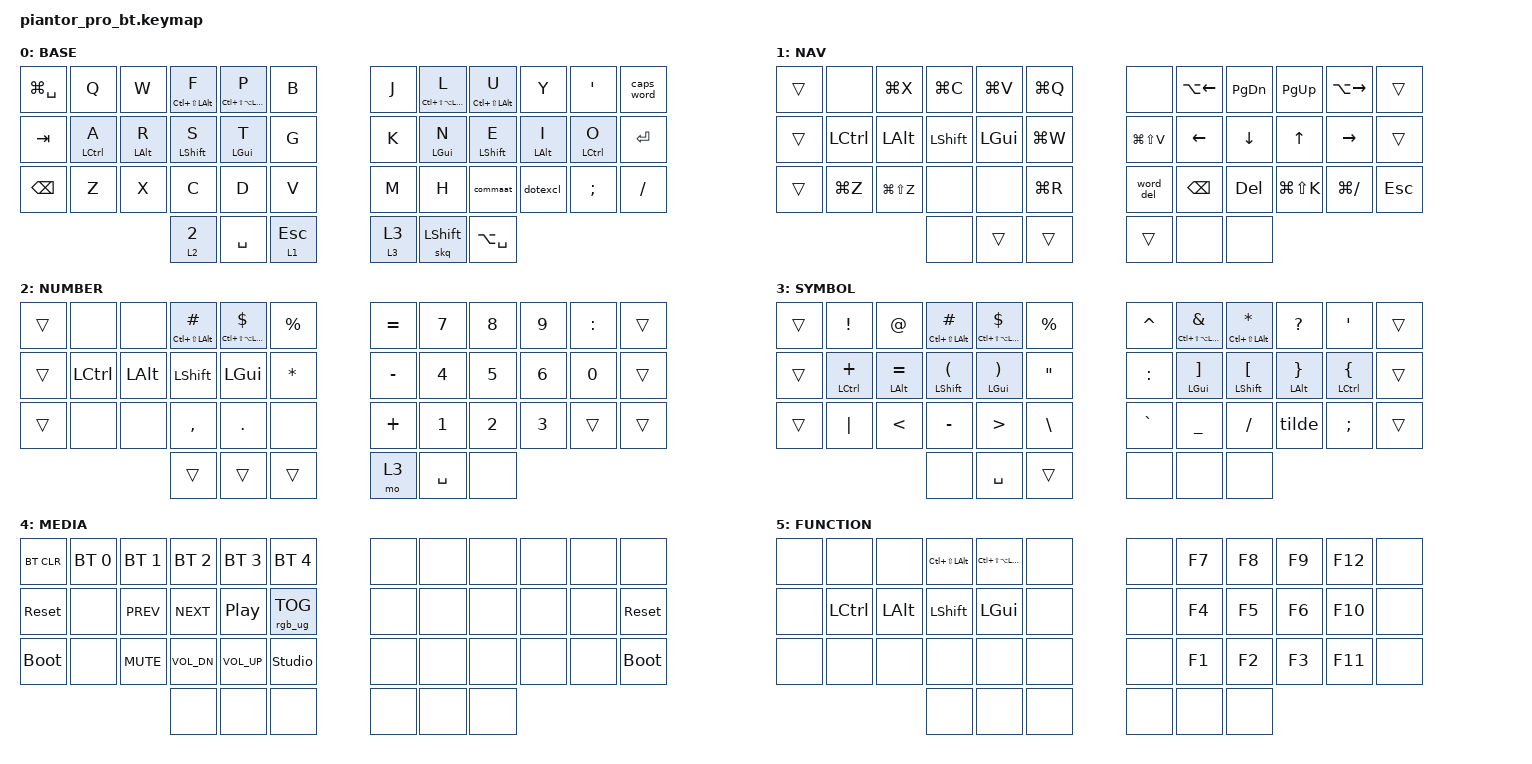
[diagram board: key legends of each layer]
/*
 * Copyright (c) 2020 The ZMK Contributors
 *
 * SPDX-License-Identifier: MIT
 */

#include <behaviors.dtsi>
#include <behaviors/num_word.dtsi>
#include <dt-bindings/zmk/bt.h>
#include <dt-bindings/zmk/keys.h>
#include <dt-bindings/zmk/rgb.h>
#include "zmk-helpers/key-labels/42.h"

#define KEYS_L LT0 LT1 LT2 LT3 LT4 LT5 LM0 LM1 LM2 LM3 LM4 LM5 LB0 LB1 LB2 LB3 LB4 LB5
#define KEYS_R RT0 RT1 RT2 RT3 RT4 RT5 RM0 RM1 RM2 RM3 RM4 RM5 RB0 RB1 RB2 RB3 RB4 RB5
#define THUMBS LH2 LH1 LH0 RH0 RH1 RH2

#define HYPER LC(LS(LA(LGUI)))
#define MEH   LC(LS(LALT))
#define HYP(k) LC(LS(LA(LG(k))))

// Keep num-word active while chording homerow mods on the number layer, and
// while typing the punctuation/math/symbols reachable on that layer. The
// module's default continue-list is replaced here, so its entries are carried
// forward. Shifted-number symbols ($ # % *) already survive via the module's
// ignore-numbers (their HID usage is a digit key); COLON was the one exiting
// early, since its usage (semicolon) is not numeric.
&num_word {
    ignore-modifiers;
    continue-list = <BSPC DEL DOT COMMA PLUS MINUS ASTRK SLASH EQUAL COLON PRCNT DOLLAR HASH>;
};

/ {
    chosen { zmk,physical-layout = &default_layout; };

    macros {
        // Fire a chord exactly once, however long the key is held. A plain &kp
        // in a hold-tap's hold slot keeps the keycode down, so macOS key-repeat
        // re-triggers it -- which makes a toggle like Contexts flicker. A macro
        // taps and finishes, leaving nothing held to repeat.
        tap_once: tap_once_macro {
            compatible = "zmk,behavior-macro-one-param";
            #binding-cells = <1>;
            bindings = <&macro_param_1to1>, <&kp MACRO_PLACEHOLDER>;
        };

        // Type ~ with an explicit, self-releasing Shift. &kp TILDE carries the
        // shift as an *implicit* modifier, which ZMK tracks as a single global
        // that only clears when the tilde key is physically released. Rolling
        // an unshifted key (e.g. /) before that release folds the shift-drop
        // and the next keydown into one HID report, so the host applies the
        // stale shift and ~/ becomes ~?. Pressing and releasing Shift around a
        // brief GRAVE tap sends the release in its own report within ~10ms,
        // decoupled from how long the thumb stays down.
        tilde: tilde_macro {
            compatible = "zmk,behavior-macro";
            #binding-cells = <0>;
            wait-ms = <0>;
            tap-ms = <5>;
            bindings = <&macro_press &kp LSHFT>,
                       <&macro_tap &kp GRAVE>,
                       <&macro_release &kp LSHFT>;
        };
    };

    behaviors {
        hml: homerow_mods_left {
            compatible = "zmk,behavior-hold-tap";
            #binding-cells = <2>;
            flavor = "balanced";
            tapping-term-ms = <230>;
            quick-tap-ms = <175>;
            require-prior-idle-ms = <150>;
            bindings = <&kp>, <&kp>;

            hold-trigger-key-positions = <KEYS_R THUMBS>;
            hold-trigger-on-release;
        };

        hmr: homerow_mods_right {
            compatible = "zmk,behavior-hold-tap";
            #binding-cells = <2>;
            flavor = "balanced";
            tapping-term-ms = <230>;
            quick-tap-ms = <175>;
            require-prior-idle-ms = <150>;
            bindings = <&kp>, <&kp>;

            hold-trigger-key-positions = <KEYS_L THUMBS>;
            hold-trigger-on-release;
        };

        // Tap-preferred variants: rolls can never trigger the hold, only a
        // deliberate hold past the tapping term can. Used for ALT, where a
        // misfire types a special character (e.g. Option+S = ß), and CTRL.
        hml_tp: homerow_mods_left_tap_preferred {
            compatible = "zmk,behavior-hold-tap";
            #binding-cells = <2>;
            flavor = "tap-preferred";
            tapping-term-ms = <230>;
            quick-tap-ms = <175>;
            require-prior-idle-ms = <150>;
            bindings = <&kp>, <&kp>;

            hold-trigger-key-positions = <KEYS_R THUMBS>;
            hold-trigger-on-release;
        };

        hmr_tp: homerow_mods_right_tap_preferred {
            compatible = "zmk,behavior-hold-tap";
            #binding-cells = <2>;
            flavor = "tap-preferred";
            tapping-term-ms = <230>;
            quick-tap-ms = <175>;
            require-prior-idle-ms = <150>;
            bindings = <&kp>, <&kp>;

            hold-trigger-key-positions = <KEYS_L THUMBS>;
            hold-trigger-on-release;
        };

        smart_num: smart_number_layer {
            compatible = "zmk,behavior-hold-tap";
            #binding-cells = <2>;
            flavor = "hold-preferred";
            tapping-term-ms = <200>;
            bindings = <&mo>, <&num_word>;
        };

        mtt: mod_tap_tap_preferred {
            compatible = "zmk,behavior-hold-tap";
            #binding-cells = <2>;
            flavor = "tap-preferred";
            tapping-term-ms = <230>;
            quick-tap-ms = <175>;
            require-prior-idle-ms = <130>;
            bindings = <&kp>, <&kp>;
        };

        skq: sticky_key_quick_release {
            compatible = "zmk,behavior-sticky-key";
            #binding-cells = <1>;
            bindings = <&kp>;
            release-after-ms = <2000>;
            quick-release;
            ignore-modifiers;
        };

        sl_mo: sticky_layer_momentary_layer {
            compatible = "zmk,behavior-hold-tap";
            #binding-cells = <2>;
            flavor = "hold-preferred";
            tapping-term-ms = <200>;
            bindings = <&mo>, <&sl>;
        };

        nav_esc: nav_layer_escape {
            compatible = "zmk,behavior-hold-tap";
            #binding-cells = <2>;
            flavor = "balanced";
            tapping-term-ms = <200>;
            bindings = <&mo>, <&kp>;
        };

        nav_word: nav_word {
            compatible = "zmk,behavior-auto-layer";
            #binding-cells = <1>;
            continue-list = <LEFT DOWN UP RIGHT PG_UP PG_DN BSPC DEL LG(X) LG(C) LG(V) LG(R) LG(W) LG(Q) LG(Z) LG(LS(Z)) LG(LS(V)) LG(LS(K)) LG(SLASH)>;
            ignore-modifiers;
        };

        dotexcl: dot_shifted_exclamation {
            compatible = "zmk,behavior-mod-morph";
            #binding-cells = <0>;
            bindings = <&kp DOT>, <&kp EXCLAMATION>;

            mods = <MOD_LSFT>;
        };

        commaat: comma_shifted_at {
            compatible = "zmk,behavior-mod-morph";
            #binding-cells = <0>;
            bindings = <&kp COMMA>, <&kp AT_SIGN>;

            mods = <MOD_LSFT>;
        };

        word_del: word_delete_morph {
            compatible = "zmk,behavior-mod-morph";
            #binding-cells = <0>;
            bindings = <&kp LA(BSPC)>, <&kp LA(DEL)>;

            mods = <(MOD_LSFT|MOD_RSFT)>;
        };
    };

    conditional_layers {
        compatible = "zmk,conditional-layers";
        tri_layer {
            if-layers = <1 3>;
            then-layer = <4>;
        };

        // F-keys used to share the NUMBER layer with the digits, which is what
        // forced the hold-taps there: under the bilateral rule each side's
        // homerow mods exist to modify the *other* side, so a two-handed layer
        // needs mods on both hands. Splitting them off lets NUMBER keep plain
        // mods on the left and plain digits on the right. MEDIA was the obvious
        // host and the wrong one -- it carries sys_reset and bootloader twice
        // each, and is safe only because it is never visited.
        //
        // Entry is one-way, number thumb then symbol thumb, via &mo 3 on
        // NUMBER's RH0; SYMBOL's LH2 is &none, which blocks the reverse. &mo
        // rather than &trans there on purpose: &trans would inherit sl_mo, so a
        // thumb slipping off SPACE at RH1 would arm sticky SYMBOL and silently
        // turn the next digit into a symbol. &mo has no tap behavior to arm.
        fn_layer {
            if-layers = <2 3>;
            then-layer = <5>;
        };
    };

    combos {
        compatible = "zmk,combos";

        combo_nav_word {
            bindings = <&nav_word 1>;
            key-positions = <LB2 LB1>;
            timeout-ms = <50>;
            require-prior-idle-ms = <150>;
            layers = <0 1>;
        };

        combo_terminal {
            bindings = <&kp LC(GRAVE)>;
            key-positions = <RB1 RB2>;
            timeout-ms = <50>;
            require-prior-idle-ms = <150>;
            layers = <0>;
        };

        // One-shot Meh (Ctrl+Alt+Shift) to fire the IDE chord tree as a tap
        // sequence: [space+shift] arms Meh -> tap drawer (= Meh+drawer) -> tap
        // action (bare). Sited on the two neutral thumbs (space, sticky-shift)
        // so it never fouls the num/nav/symbol layer thumbs. prior-idle keeps
        // space and shift normal mid-typing; the combo only arms after a brief
        // pause, which is the natural rhythm before an IDE action anyway.
        combo_meh {
            bindings = <&sk MEH>;
            key-positions = <LH1 RH1>;
            timeout-ms = <50>;
            require-prior-idle-ms = <150>;
            layers = <0>;
        };

        // Leader Key on the two outer thumbs, replacing the old shift+RH2
        // mod-morph that needed the sticky-shift thumb armed first.
        // Deliberately no require-prior-idle-ms, unlike the combos above: RH2
        // is not a typing key, so this can't misfire mid-stream, and a guard
        // would instead swallow the combo right after typing -- leaving
        // num_word armed and Raycast open, which is the worse failure.
        combo_leader {
            bindings = <&kp HYP(SPACE)>;
            key-positions = <LH2 RH2>;
            timeout-ms = <50>;
            layers = <0>;
        };
    };

    keymap {
        compatible = "zmk,keymap";

        default_layer { // 0
            display-name = "BASE";

            // -------------------------------------------------------------------------------------
            // | APPSW      |  Q  |  W  |  F  |  P  |  B  ||  J  |  L   |  U  |  Y  |  '  | CAPWRD |
            // | TAB        |  A  |  R  |  S  |  T  |  G  ||  K  |  N   |  E  |  I  |  O  | ENTER  |
            // | BSPC       |  Z  |  X  |  C  |  D  |  V  ||  M  |  H   |  ,  |  .  |  /  | ;      |
            //                    | NUM/WORD | SPC | NAV/ESC || LYR3 | SHIFT  | RAY |

            bindings = <
                &kp LG(SPACE)         &kp Q        &kp W       &hml MEH F    &hml HYPER P &kp B        &kp J &hmr HYPER L &hmr MEH U   &kp Y        &kp SQT         &caps_word
                &kp TAB       &hml_tp LCTRL A &hml_tp LALT R &hml LSHFT S  &hml LGUI T  &kp G        &kp K &hmr LGUI N  &hmr LSHFT E &hmr_tp LALT I  &hmr_tp LCTRL O &kp ENTER
                &kp BSPC      &kp Z        &kp X       &kp C         &kp D        &kp V        &kp M &kp H        &commaat     &dotexcl     &kp SEMI        &kp FSLH
                &smart_num 2 2 &kp SPACE &nav_esc 1 ESC                                       &sl_mo 3 3 &skq LSHIFT &kp LA(SPACE) 
            >;
        };

        lower_layer { // 1
            display-name = "NAV";

            // ----------------------------------------------------------------------------------------
            // |  |      | CMD X |  CMD C |  CMD V | CMD Q ||        | W_LFT | PG_DN | PG_UP     | W_RGT |  |
            // |  | CTRL | ALT | SHIFT  | CMD    | CMD W || CLPBRD | LFT  | DWN   | UP          | RGT   |  |
            // |  | UNDO | REDO |       |        | CMD R || W_DEL  | BSPC | DEL   | CMD SHIFT K | CMD / | ESC |
            //                             |  |  |  ||  |  |  |

            bindings = <
                &trans  &none     &kp LG(X) &kp LG(C)   &kp LG(V) &kp LG(Q)    &none         &kp LA(LEFT) &kp PG_DN &kp PG_UP  &kp LA(RIGHT) &trans
                &trans  &kp LCTRL &kp LALT &kp LSHIFT   &kp LGUI  &kp LG(W)    &kp LG(LS(V)) &kp LEFT  &kp DOWN  &kp UP        &kp RIGHT     &trans
                &trans  &kp LG(Z) &kp LG(LS(Z)) &none   &none     &kp LG(R)    &word_del     &kp BSPC  &kp DEL   &kp LG(LS(K)) &kp LG(SLASH) &kp ESC
                &none &trans &trans                                            &trans &none &none
            >;
        };

        raise_layer { // 2
            display-name = "NUMBER";

            // Operators on the left, digits on the right, so every
            // digit-operator pair is cross-hand. They are plain taps now: the
            // old &mtt holds sat behind require-prior-idle-ms = 130, which
            // forces a tap when the previous key was under 130ms ago -- so 4*2
            // typed at speed silently produced 4/2. The operator was gated, not
            // misplaced. Left mods are plain &kp and carry no bilateral
            // restriction, so they still reach the left-hand operators.
            //
            // #/MEH and $/HYPER are the only hold-taps left, kept so Meh and
            // Hyper can reach the digits across hands; the symbol is the tap,
            // so it is never gated. RB4/RB5 are transparent on purpose: ; and /
            // come from base, ; exits num_word (SEMI is off the continue-list)
            // and / continues it (SLASH is on it).
            // ---------------------------------------------------------------
            // |  |      |     | #/MEH | $/HYPER | % || = | 7 | 8 | 9 | : |   |
            // |  | CTRL | ALT | SHIFT | CMD     | * || - | 4 | 5 | 6 | 0 |   |
            // |  |      |     | ,     | .       |   || + | 1 | 2 | 3 | ; | / |
            //                          |  |  |  || SYMBOL | SPC |  |

            bindings = <
                &trans    &none     &none    &hml MEH HASH &hml HYPER DOLLAR &kp PRCNT    &kp EQUAL &kp N7 &kp N8 &kp N9 &kp COLON &trans
                &trans    &kp LCTRL &kp LALT &kp LSHIFT    &kp LGUI          &kp ASTRK    &kp MINUS &kp N4 &kp N5 &kp N6 &kp N0    &trans
                &trans    &none     &none    &kp COMMA     &kp DOT           &none        &kp PLUS  &kp N1 &kp N2 &kp N3 &trans    &trans 
                &trans &trans &trans                                                      &mo 3 &kp SPACE &none
            >;
        };

        extra_layer_1 { // 3
            display-name = "SYMBOL";

            // LH2 is &none so the number thumb does not register from here:
            // that blocks symbol-then-number entry into the 2+3 tri-layer,
            // which is reached from the NUMBER side instead (see fn_layer).
            // LH0 stays transparent, since the 1+3 tri-layer does rely on it.
            // ------------------------------------------------
            // |  | ! | @ | # | $ | % || ^ | & | * | ? | ' |  |
            // |  | + | = | ( | ) | " || : | ] | [ | } | { |  |
            // |  | | | < | - | > | \ || ` | _ | / | ~ | ; |  |
            //               |  |  |  ||  |  |

            bindings = <
                &trans    &kp EXCL        &kp AT_SIGN     &hml MEH HASH    &hml HYPER DOLLAR &kp PRCNT        &kp CARET &hmr HYPER AMPS &hmr MEH ASTRK   &kp QMARK        &kp SQT         &trans
                &trans    &hml LCTRL PLUS &hml LALT EQUAL &hml LSHIFT LPAR &hml LGUI RPAR    &kp DQT          &kp COLON &hmr LGUI RBKT  &hmr LSHIFT LBKT &hmr LALT RBRC   &hmr LCTRL LBRC &trans
                &trans    &kp PIPE        &kp LT          &kp MINUS        &kp GT            &kp BSLH         &kp GRAVE &kp UNDER       &kp SLASH        &tilde           &kp SEMI        &trans
                &none &kp SPACE &trans                                                                        &none &none &none
            >;
        };

        extra_layer_2 { // 4
            display-name = "MEDIA";

            // ------------------------------------------------------------------------------
            // | BT_CLR    | BT_0 | BT_1 | BT_2   | BT_3   | BT_4 ||  |  |  |  |  |         |
            // | SYS_RESET |      | PRED | NEXT   | PLAY   | RGB  ||  |  |  |  |  | BOOTLDR |
            // | BOOTLDR   |      | MUTE | VOL_DN | VOL_UP | UNLK ||  |  |  |  |  |         |
            //                                           |  |  |  ||  |  |

            bindings = <
                &bt BT_CLR  &bt BT_SEL 0 &bt BT_SEL 1 &bt BT_SEL 2 &bt BT_SEL 3     &bt BT_SEL 4           &none &none &none &none &none &none
                &sys_reset  &none        &kp C_PREV   &kp C_NEXT   &kp C_PLAY_PAUSE &rgb_ug RGB_TOG        &none &none &none &none &none &sys_reset
                &bootloader &none        &kp C_MUTE   &kp C_VOL_DN &kp C_VOL_UP     &studio_unlock         &none &none &none &none &none &bootloader
                &none &none &none                                                                          &none &none &none
            >;
        };

        extra_layer_3 { // 5
            display-name = "FUNCTION";

            // F1-F9 sit on their matching digit positions from the NUMBER
            // layer, F10 where 0 is, F11 below it and F12 above. Plain mods on
            // the left so the F-keys can be chorded across hands (Shift+F6,
            // Cmd+F9); everything else is &none rather than transparent, so a
            // stray press here does nothing instead of firing a base key.
            // ------------------------------------------------------------------
            // |  |      |     |       |     |  ||  | F7 | F8 | F9 | F12 |  |
            // |  | CTRL | ALT | SHIFT | CMD |  ||  | F4 | F5 | F6 | F10 |  |
            // |  |      |     |       |     |  ||  | F1 | F2 | F3 | F11 |  |
            //                        |  |  |  ||  |  |  |

            bindings = <
                &none &none     &none    &kp MEH    &kp HYPER &none        &none &kp F7 &kp F8 &kp F9 &kp F12 &none
                &none &kp LCTRL &kp LALT &kp LSHIFT &kp LGUI  &none        &none &kp F4 &kp F5 &kp F6 &kp F10 &none
                &none &none     &none    &none      &none     &none        &none &kp F1 &kp F2 &kp F3 &kp F11 &none
                &none &none &none                                          &none &none &none
            >;
        };
    };
};
